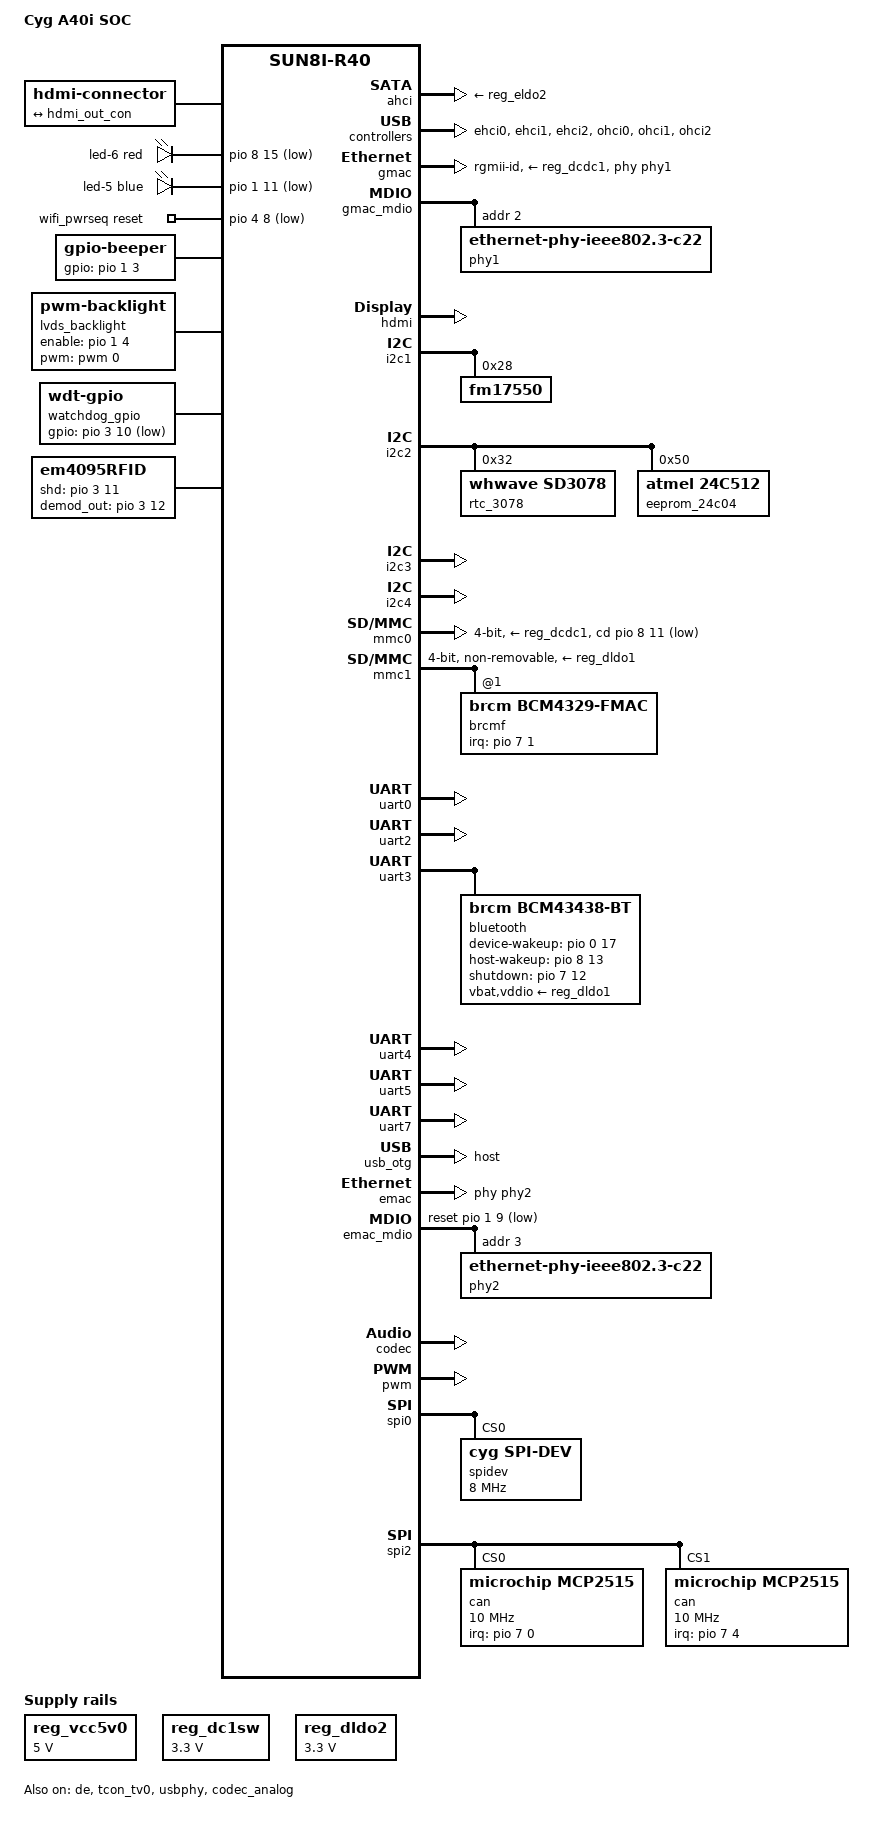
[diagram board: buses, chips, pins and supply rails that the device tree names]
// SPDX-License-Identifier: GPL-2.0+ OR MIT
// Copyright (C) 2021 Ivan Uvarov <i.uvarov@cognitivepilot.com>
// Based on the sun8i-r40-bananapi-m2-ultra.dts, which is:
//	Copyright (C) 2017 Chen-Yu Tsai <wens@csie.org>
//	Copyright (C) 2017 Icenowy Zheng <icenowy@aosc.io>

/dts-v1/;
#include "sun8i-r40-feta40i.dtsi"

#include <dt-bindings/gpio/gpio.h>
#include <dt-bindings/leds/common.h>

/ {
	model = "Cyg A40i SOC";
	compatible = "forlinx,oka40i-c", "forlinx,feta40i-c", "allwinner,sun8i-r40";

	aliases {
		ethernet0 = &gmac;
		serial0 = &uart0;
		serial2 = &uart2;
		serial3 = &uart3;
		serial4 = &uart4;
		serial5 = &uart5; /* RS485 */
		serial7 = &uart7;
		mmc0 = &mmc0;
		mmc1 = &mmc1;
		mmc2 = &mmc2;
		mmc3 = &mmc3;
	};

	chosen {
		stdout-path = "serial0:115200n8";
	};

	hdmi-connector {
		compatible = "hdmi-connector";
		type = "a";

		port {
			hdmi_con_in: endpoint {
				remote-endpoint = <&hdmi_out_con>;
			};
		};
	};

	leds {
		compatible = "gpio-leds";

		led-6 {
			gpios = <&pio 8 15 GPIO_ACTIVE_LOW>; /* PI15 */
			color = <LED_COLOR_ID_RED>;
			function = LED_FUNCTION_STATUS;
		};

		led-5 { /* this is how the leds are labeled on the board */
			gpios = <&pio 1 11 GPIO_ACTIVE_LOW>; /* PB11 */
			color = <LED_COLOR_ID_BLUE>;
			function = LED_FUNCTION_HEARTBEAT;
			linux,default-trigger = "heartbeat";
		};
	};

	reg_vcc5v0: vcc5v0 {
		compatible = "regulator-fixed";
		regulator-name = "vcc5v0";
		regulator-min-microvolt = <5000000>;
		regulator-max-microvolt = <5000000>;
	};

	wifi_pwrseq: wifi_pwrseq {
		compatible = "mmc-pwrseq-simple";
		reset-gpios = <&pio 4 8 GPIO_ACTIVE_LOW>; // PE08 WIFI_EN
		clocks = <&ccu CLK_OUTA>;
		clock-names = "ext_clock";
	};

	beep: beep {
		compatible = "gpio-beeper";
		gpios = <&pio 1 3 GPIO_ACTIVE_HIGH>;
	};

	lvds_backlight: lvds-backlight {
		compatible = "pwm-backlight";
		pwms = <&pwm 0 5000000 0>;
		pwm-names = "backlight";
		enable-gpios = <&pio 1 4 GPIO_ACTIVE_HIGH>;
		brightness-levels = <0 100>;
		num-interpolated-steps = <100>;
		default-brightness-level = <80>;
	};

	watchdog_gpio:watchdog-gpio {
		/* SGM823 */
		compatible = "linux,wdt-gpio";
		gpios = <&pio 3 10 GPIO_ACTIVE_LOW>;
		hw_algo = "toggle";
		hw_margin_ms = <1600>;
		//always-running = "true";
	};
	
	em4095rfid:em4095RFID {
		compatible = "em4095RFID";
		pinctrl-names = "default";
		pinctrl-0 = <&rfid_pins_out>,<&rfid_pins_in>;
		shd = <&pio 3 11 GPIO_ACTIVE_HIGH>;
		demod_out = <&pio 3 12 GPIO_ACTIVE_HIGH>;
		status = "okay";
	};
};
&pio {
	rfid_pins_out:rfid-pins-out{
		pins = "PD11";
		function = "gpio_out";
	};
	rfid_pins_in:rfid-pins-in{
		pins =  "PD12";
		function = "gpio_in";
	};
};
&ahci {
	ahci-supply = <&reg_dldo4>;
	phy-supply = <&reg_eldo2>;
	status = "okay";
};

&de {
	status = "okay";
};

&ehci0 {
	status = "okay";
};

&ehci1 {
	status = "okay";
};

&ehci2 {
	status = "okay";
};

&gmac {
	pinctrl-names = "default";
	pinctrl-0 = <&gmac_rgmii_pins>;
	phy-handle = <&phy1>;
	phy-mode = "rgmii-id";
	phy-supply = <&reg_dcdc1>;
	allwinner,tx-delay-ps = <300>;
	allwinner,rx-delay-ps = <200>;
	status = "okay";
};

&gmac_mdio {
	phy1: ethernet-phy@2 {
		compatible = "ethernet-phy-ieee802.3-c22";
		reg = <2>;
	};
};

&hdmi {
	status = "okay";
};

&hdmi_out {
	hdmi_out_con: endpoint {
		remote-endpoint = <&hdmi_con_in>;
	};
};

&can0 {
	pinctrl-names = "default";
	pinctrl-0 = <&can_ph_pins>;
	/* status = "okay"; */
};

&i2c1 {
	status = "okay";
	
	fm17550:fm17550@28{
 		compatible = "fm17550";
	 	reg = <0x28>;
	};
};

&i2c2 {
	status = "okay";
	
	rtc_3078:rtc-3078@32{
 		compatible = "whwave,sd3078";
	 	reg = <0x32>;
	};
	
	eeprom_24c04:eeprom-24c04@50 {
		compatible = "atmel,24c512";
		pagesize = <128>;
		reg = <0x50>;
	};
};
&i2c3 {
	status = "okay";
};
&i2c4 {
	status = "okay";
};
&mmc0 {
	vmmc-supply = <&reg_dcdc1>;
	vqmmc-supply = <&reg_dcdc1>;
	bus-width = <4>;
	cd-gpios = <&pio 8 11 GPIO_ACTIVE_LOW>; // PI11
	status = "okay";
};
&mmc1 {
	mmc-pwrseq = <&wifi_pwrseq>;
	bus-width = <4>;
	vmmc-supply = <&reg_dldo1>;
	vqmmc-supply = <&reg_dldo1>;
	non-removable;
	wakeup-source;
	keep-power-in-suspend;
	status = "okay";

	brcmf: wifi@1 {
		reg = <1>;
		compatible = "brcm,bcm4329-fmac";
		interrupt-parent = <&pio>;
		interrupts = <7 1 IRQ_TYPE_LEVEL_LOW>; /* PH1 WL_WAKE_UP */
		interrupt-names = "host-wake";
	};
};
&mmc3 {
	vmmc-supply = <&reg_dcdc1>;
	vqmmc-supply = <&reg_dcdc1>;
	bus-width = <4>;
	cd-gpios = <&pio 8 10 GPIO_ACTIVE_LOW>; // PI10
	status = "disabled";
};

&ohci0 {
	status = "okay";
};

&ohci1 {
	status = "okay";
};

&ohci2 {
	status = "okay";
};

&reg_dc1sw {
	regulator-min-microvolt = <3300000>;
	regulator-max-microvolt = <3300000>;
	regulator-name = "vcc-lcd";
};

&reg_dldo2 {
	regulator-min-microvolt = <3300000>;
	regulator-max-microvolt = <3300000>;
	regulator-name = "vcc-wifi";
};

&tcon_tv0 {
	status = "okay";
};

&uart0 {
	pinctrl-names = "default";
	pinctrl-0 = <&uart0_pb_pins>;
	status = "okay";
};

&uart2 {
	pinctrl-names = "default";
	pinctrl-0 = <&uart2_pi_pins>, <&uart2_rts_cts_pi_pins>;
	uart-has-rtscts;
	status = "okay";
};

&uart3 {
	pinctrl-names = "default";
	pinctrl-0 = <&uart3_pg_pins>, <&uart3_rts_cts_pg_pins>;
	uart-has-rtscts;
	status = "okay";
	bluetooth {
		compatible = "brcm,bcm43438-bt";
		clocks = <&ccu CLK_OUTA>;
		clock-names = "lpo";
		vbat-supply = <&reg_dldo1>;
		vddio-supply = <&reg_dldo1>;
		device-wakeup-gpios = <&pio 0 17 GPIO_ACTIVE_HIGH>; /* PA17 */
		host-wakeup-gpios = <&pio 8 13 GPIO_ACTIVE_HIGH>; /* PI13 */
		shutdown-gpios = <&pio 7 12 GPIO_ACTIVE_HIGH>; /* PH12 */
		
		max-speed = <115200>;
	};
};

&uart4 {
	pinctrl-names = "default";
	pinctrl-0 = <&uart4_pg_pins>;
	status = "okay";
};

&uart5 { /* RS485 */
	pinctrl-names = "default";
	pinctrl-0 = <&uart5_ph_pins>;
	status = "okay";
};

&uart7 {
	pinctrl-names = "default";
	pinctrl-0 = <&uart7_pi_pins>;
	status = "okay";
};

&usbphy {
	usb_vbus-supply = <&reg_vcc5v0>;
	usb1_vbus-supply = <&reg_vcc5v0>;
	usb2_vbus-supply = <&reg_vcc5v0>;
	status = "okay";
};

&usb_otg {
	dr_mode = "host";
	status = "okay";
};

&emac {
	pinctrl-0 = <&emac_ph_pins>;
	pinctrl-names = "default";
	phy-handle = <&phy2>;
	status = "okay";
};

&emac_mdio {
	status = "okay";
	reset-gpios = <&pio 1 9 GPIO_ACTIVE_LOW>; // PB9 MII_RESET
	reset-delay-us = <10000>;
	phy2: ethernet-phy@3 {
		compatible = "ethernet-phy-ieee802.3-c22";
		reg = <3>;
	};
};

&emac_sram {
	status = "okay";
};

&panel_lvds {
	pinctrl-names = "default";
	pinctrl-0 = <&lvds0_pd_pins>;
	width-mm = <246>;
	height-mm = <184>;
	data-mapping = "vesa-24";
	backlight = <&lvds_backlight>;

	panel-timing {
		clock-frequency = <65000000>;
		hactive = <1024>;
		vactive = <768>;
		hback-porch = <220>;
		hfront-porch = <40>;
		vback-porch = <21>;
		vfront-porch = <7>;
		hsync-len = <60>;
		vsync-len = <10>;
	};

};

&codec {
	allwinner,audio-routing =
		"Headphone", "Phoneout";
	allwinner,codec-analog-controls = <&codec_analog>;
	allwinner,pa-gpios = <&pio 1 5 GPIO_ACTIVE_LOW>; // PB5 SPK SHUTDOWN
	status = "okay";
};

&codec_analog {
	status = "okay";
};

&pwm {
	pinctrl-names = "default";
	pinctrl-0 = <&pwm_ch0_pin>,<&pwm_ch1_pin>;
	status = "okay";
};

&spi0 {
	pinctrl-names = "default";
	pinctrl-0 = <&spi0_pc_pins>, <&spi0_cs0_pc_pin>;
	status = "okay";

	spidev@0 {
		compatible = "cyg,spi-dev";
		reg = <0>;
		spi-max-frequency = <8000000>;
	};
};
&spi2 {
	pinctrl-names = "default";
	pinctrl-0 = <&spi2_pi_pins>,<&spi2_cs0_pi_pin>,<&spi2_cs1_pi_pin>;
	status = "okay";

	can@0 {
		#address-cells = <1>;
		#size-cells = <1>;
		compatible = "microchip,mcp2515";
		reg = <0>;
		mode=<0>;
		clocks = <&osc8M>;
		interrupt-parent = <&pio>;
		interrupts = <7 0 IRQ_TYPE_EDGE_FALLING>; /* PH0 */
		spi-max-frequency = <10000000>;
	};
	can@1 {
		#address-cells = <1>;
		#size-cells = <1>;
		compatible = "microchip,mcp2515";
		reg = <1>;
		mode=<0>;
		clocks = <&osc8M>;
		interrupt-parent = <&pio>;
		interrupts = <7 4 IRQ_TYPE_EDGE_FALLING>; /* PH4*/
		spi-max-frequency = <10000000>;
	};

};
